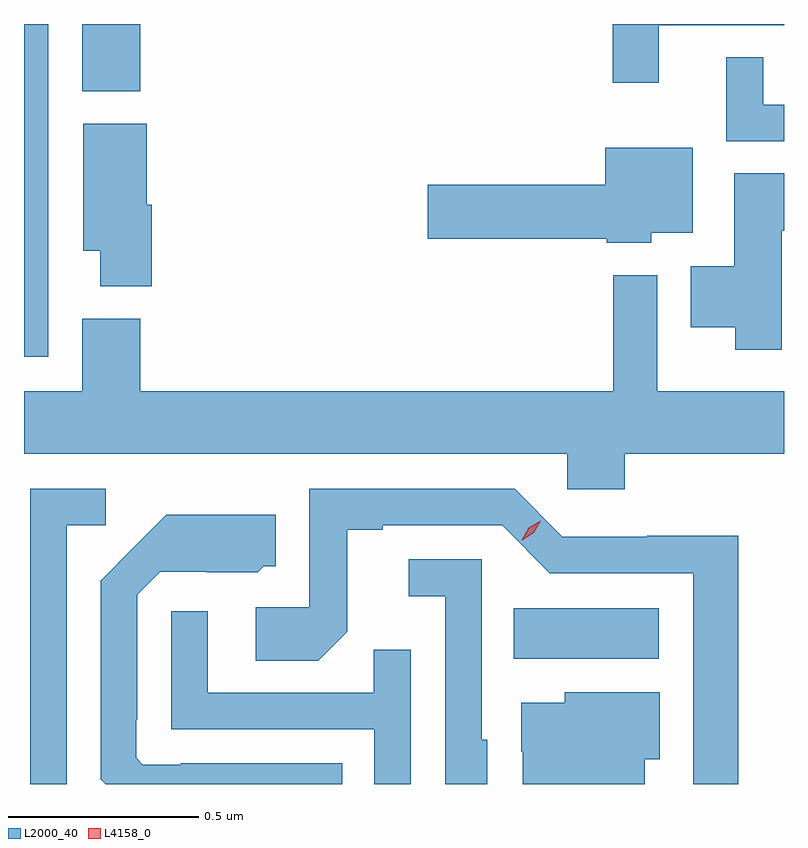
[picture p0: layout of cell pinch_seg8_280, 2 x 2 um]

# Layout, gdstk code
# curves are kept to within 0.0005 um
import gdstk
lib = gdstk.Library(unit=1e-6, precision=1e-09)
def R(c, l, rs):  # rectangles x0, y0, x1, y1
    for r in rs: c.add(gdstk.rectangle(r[:2], r[2:], *l))
def P(c, l, *ps):  # polygons
    for p in ps: c.add(gdstk.Polygon(p, *l))
L2000_40 = (2000, 40)
L4158_0 = (4158, 0)

pinch_seg8_280 = lib.new_cell('pinch_seg8_280')
R(pinch_seg8_280, L2000_40, [(532.084,1135.94,532.465,1136.074), (530.795,1136.736,530.859,1137.611), (530.948,1137.434,531.101,1137.611)])
P(pinch_seg8_280, L2000_40, [(532.465,1137.608),(532.795,1137.608),(532.795,1137.611),(532.344,1137.611),(532.344,1137.456),(532.465,1137.456)],
  [(532.795,1137.399),(532.741,1137.399),(532.741,1137.523),(532.643,1137.523),(532.643,1137.303),(532.795,1137.303)],
  [(531.131,1137.135),(531.118,1137.135),(531.118,1137.349),(530.951,1137.349),(530.951,1137.014),(530.996,1137.014),(530.996,1136.921),(531.131,1136.921)],
  [(532.446,1137.062),(532.555,1137.062),(532.555,1137.286),(532.325,1137.286),(532.325,1137.188),(531.858,1137.188),(531.858,1137.046),(532.329,1137.046),(532.329,1137.035),(532.446,1137.035)],
  [(532.789,1137.067),(532.795,1137.067),(532.795,1137.218),(532.664,1137.218),(532.664,1136.974),(532.55,1136.974),(532.55,1136.813),(532.667,1136.813),(532.667,1136.754),(532.789,1136.754)],
  [(532.376,1136.48),(532.795,1136.48),(532.795,1136.644),(532.461,1136.644),(532.461,1136.95),(532.345,1136.95),(532.345,1136.644),(531.101,1136.644),(531.101,1136.836),(530.948,1136.836),(530.948,1136.644),(530.795,1136.644),(530.795,1136.48),(532.224,1136.48),(532.224,1136.387),(532.376,1136.387)],
  [(530.907,1136.292),(531.01,1136.292),(531.01,1136.388),(530.811,1136.388),(530.811,1135.611),(530.907,1135.611)],
  [(532.675,1136.264),(532.434,1136.264),(532.434,1136.262),(532.212,1136.262),(532.086,1136.388),(531.546,1136.388),(531.546,1136.076),(531.405,1136.076),(531.405,1135.936),(531.569,1135.936),(531.645,1136.012),(531.645,1136.28),(531.739,1136.28),(531.739,1136.292),(532.053,1136.292),(532.179,1136.166),(532.556,1136.166),(532.556,1135.611),(532.675,1135.611)],
  [(531.632,1135.666),(531.208,1135.666),(531.208,1135.662),(531.108,1135.662),(531.09,1135.68),(531.09,1135.78),(531.093,1135.78),(531.093,1136.109),(531.153,1136.169),(531.276,1136.169),(531.276,1136.168),(531.41,1136.168),(531.426,1136.184),(531.457,1136.184),(531.457,1136.32),(531.169,1136.32),(530.997,1136.146),(530.997,1135.624),(531.01,1135.611),(531.632,1135.611)],
  [(532.014,1135.728),(531.999,1135.728),(531.999,1136.202),(531.807,1136.202),(531.807,1136.105),(531.903,1136.105),(531.903,1135.611),(532.014,1135.611)],
  [(531.813,1135.964),(531.715,1135.964),(531.715,1135.851),(531.279,1135.851),(531.279,1136.065),(531.183,1136.065),(531.183,1135.755),(531.717,1135.755),(531.717,1135.611),(531.813,1135.611)],
  [(532.429,1135.676),(532.468,1135.676),(532.468,1135.852),(532.218,1135.852),(532.218,1135.825),(532.103,1135.825),(532.103,1135.696),(532.107,1135.696),(532.107,1135.611),(532.429,1135.611)])
P(pinch_seg8_280, L4158_0, [(532.105,1136.253),(532.105,1136.253),(532.123,1136.286),(532.155,1136.304),(532.155,1136.304),(532.155,1136.304),(532.137,1136.272),(532.106,1136.253)])

lib.write_gds('pinch_seg8_280.gds')
